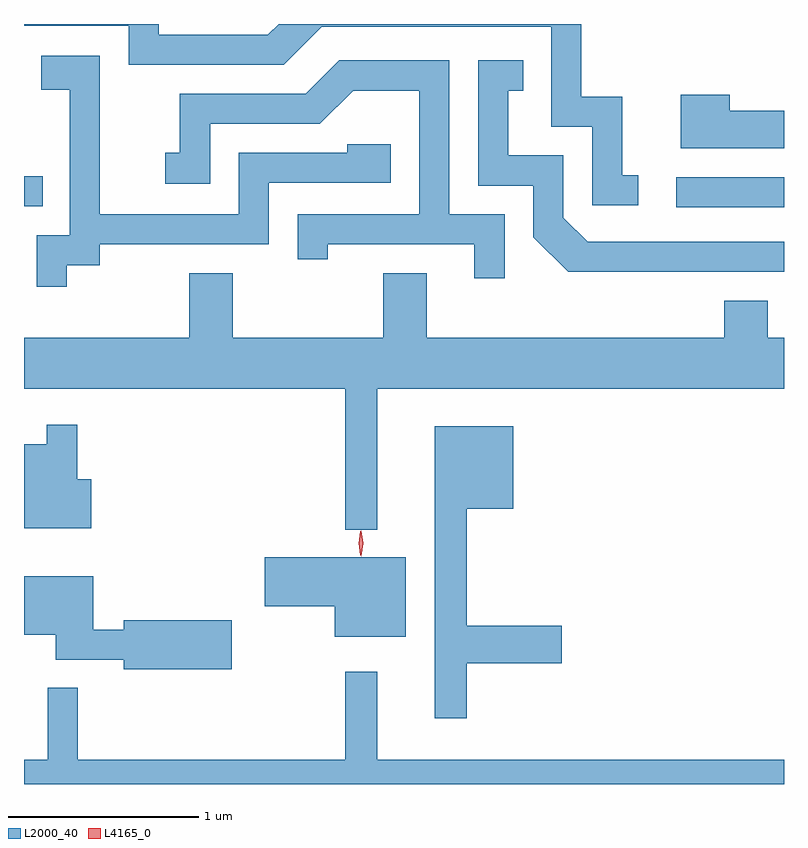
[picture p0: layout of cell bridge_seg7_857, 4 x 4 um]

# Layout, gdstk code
import gdstk
lib = gdstk.Library(unit=1e-6, precision=1e-09)
def R(c, l, rs):  # rectangles x0, y0, x1, y1
    for r in rs: c.add(gdstk.rectangle(r[:2], r[2:], *l))
def P(c, l, *ps):  # polygons
    for p in ps: c.add(gdstk.Polygon(p, *l))
L2000_40 = (2000, 40)
L4165_0 = (4165, 0)

bridge_seg7_857 = lib.new_cell('bridge_seg7_857')
R(bridge_seg7_857, L2000_40, [(252.613,1719.711,253.18,1719.869), (249.18,1719.716,249.278,1719.874)])
P(bridge_seg7_857, L2000_40, [(252.413,1719.879),(252.329,1719.879),(252.329,1720.294),(252.114,1720.294),(252.114,1720.676),(250.521,1720.676),(250.464,1720.619),(249.889,1720.619),(249.889,1720.676),(249.18,1720.676),(249.18,1720.666),(249.731,1720.666),(249.731,1720.461),(250.547,1720.461),(250.747,1720.661),(251.956,1720.661),(251.956,1720.136),(252.171,1720.136),(252.171,1719.721),(252.413,1719.721)],
  [(249.404,1719.406),(249.579,1719.406),(249.579,1719.516),(250.469,1719.516),(250.469,1719.841),(251.109,1719.841),(251.109,1720.044),(250.881,1720.044),(250.881,1719.999),(250.311,1719.999),(250.311,1719.674),(249.579,1719.674),(249.579,1720.509),(249.271,1720.509),(249.271,1720.331),(249.421,1720.331),(249.421,1719.564),(249.246,1719.564),(249.246,1719.293),(249.404,1719.293)],
  [(253.18,1719.529),(252.147,1719.529),(252.019,1719.657),(252.019,1719.984),(251.729,1719.984),(251.729,1720.326),(251.808,1720.326),(251.808,1720.484),(251.571,1720.484),(251.571,1719.826),(251.861,1719.826),(251.861,1719.554),(252.044,1719.371),(253.18,1719.371)],
  [(251.709,1719.674),(251.419,1719.674),(251.419,1720.484),(250.839,1720.484),(250.664,1720.309),(250.001,1720.309),(250.001,1719.999),(249.923,1719.999),(249.923,1719.836),(250.159,1719.836),(250.159,1720.151),(250.737,1720.151),(250.912,1720.326),(251.261,1720.326),(251.261,1719.674),(250.621,1719.674),(250.621,1719.438),(250.779,1719.438),(250.779,1719.516),(251.551,1719.516),(251.551,1719.338),(251.709,1719.338)],
  [(253.18,1720.219),(252.894,1720.219),(252.894,1720.304),(252.636,1720.304),(252.636,1720.021),(253.18,1720.021)],
  [(253.18,1719.024),(253.094,1719.024),(253.094,1719.219),(252.866,1719.219),(252.866,1719.024),(251.299,1719.024),(251.299,1719.364),(251.071,1719.364),(251.071,1719.024),(250.279,1719.024),(250.279,1719.364),(250.051,1719.364),(250.051,1719.024),(249.18,1719.024),(249.18,1718.756),(250.871,1718.756),(250.871,1718.013),(251.039,1718.013),(251.039,1718.756),(253.18,1718.756)],
  [(249.534,1718.279),(249.459,1718.279),(249.459,1718.568),(249.301,1718.568),(249.301,1718.464),(249.18,1718.464),(249.18,1718.021),(249.534,1718.021)],
  [(251.509,1717.311),(252.009,1717.311),(252.009,1717.509),(251.509,1717.509),(251.509,1718.126),(251.754,1718.126),(251.754,1718.559),(251.341,1718.559),(251.341,1717.023),(251.509,1717.023)],
  [(251.189,1717.869),(250.446,1717.869),(250.446,1717.611),(250.816,1717.611),(250.816,1717.451),(251.189,1717.451)],
  [(250.274,1717.539),(249.706,1717.539),(249.706,1717.489),(249.544,1717.489),(249.544,1717.769),(249.18,1717.769),(249.18,1717.461),(249.346,1717.461),(249.346,1717.331),(249.706,1717.331),(249.706,1717.281),(250.274,1717.281)],
  [(253.18,1716.804),(251.039,1716.804),(251.039,1717.268),(250.871,1717.268),(250.871,1716.804),(249.464,1716.804),(249.464,1717.183),(249.306,1717.183),(249.306,1716.804),(249.18,1716.804),(249.18,1716.676),(253.18,1716.676)])
P(bridge_seg7_857, L4165_0, [(250.955,1717.874),(250.955,1717.874),(250.945,1717.942),(250.954,1718.01),(250.955,1718.01),(250.955,1718.01),(250.965,1717.942),(250.956,1717.874)],
  [(250.951,1717.88),(250.942,1717.944),(250.951,1718.006),(250.952,1718.007),(250.952,1718.006),(250.962,1717.944),(250.952,1717.88),(250.952,1717.88)])

lib.write_gds('bridge_seg7_857.gds')
